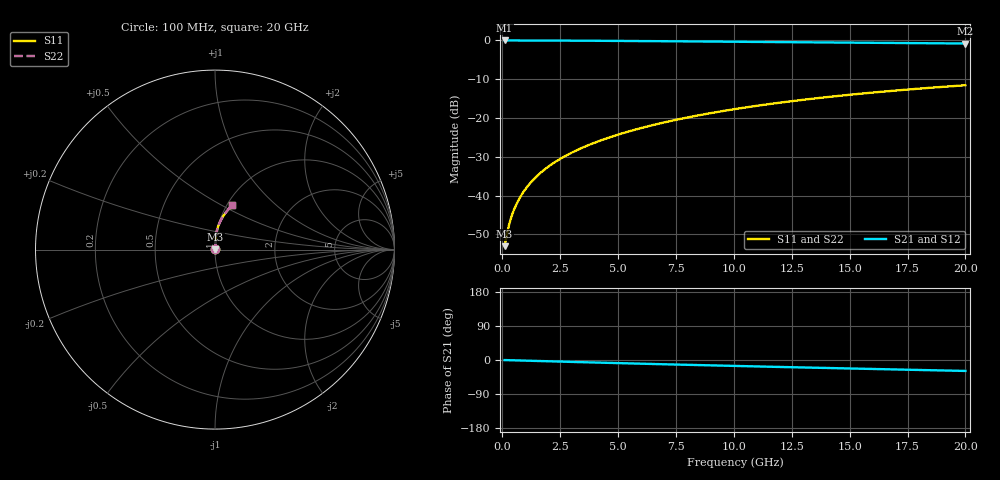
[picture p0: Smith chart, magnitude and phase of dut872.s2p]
! Touchstone file exported from HFSS 2024.1.0
!  File:  C:/UserFiles/LocalFiles/RDL_TSV_Batchsim/temp_RDL_top_872_1779856479.aedt
!  Generated:  12:36:30 PM May 27, 2026
!  Design:  RDL_top
!  Project:  temp_RDL_top_872_1779856479
!  Setup:  Setup1
!  Solution:  Sweep
! Variables:
!  dtsv = 10.80580581um
!  hbump = 3um
!  htsv = 87.6um
!  ldown = 100um
!  lrdl = 411.42um
!  p = 40
!  p1 = 45.75um
!  rhole = 1um
!  t = 450um
!  tdown = 3.915915916um
!  trdl = 4.13um
!  wdown = 15.38538539um
!  wrdl = 21.83um
# GHz S MA R 50.000000
! Terminal data exported
! Port[1] = Box2_T1
! Port[2] = Box2_T2
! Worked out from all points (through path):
!   200 points, 100 MHz to 20 GHz, reference 50 ohm
!   highest |S21| = -0.02 dB at 100 MHz (marker M1); lowest = -0.8 dB at 20 GHz (marker M2)
!   group delay of S21, straight-line fit = 3.97 ps
!   lowest |S11| = -53.0 dB at 100 MHz (marker M3), VSWR 1.00, Z = 50.2 + j0.133 ohm
!   |S11| at or under -10 dB: start of sweep to end of sweep
!   |S22| runs from -53.0 to -11.5 dB; largest |S21 - S12| = 2e-15
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0.1  0.002233 36.3  0.9982 -0.2  0.9982 -0.2  0.002233 36.3
! Gamma 0 0 0 0
! Port Impedance 50 0 50 0
0.2  0.003211 53.9  0.9981 -0.4  0.9981 -0.4  0.003211 53.9
0.3  0.004304 62.4  0.9979 -0.5  0.9979 -0.5  0.004304 62.4
0.4  0.005412 67.3  0.9978 -0.7  0.9978 -0.7  0.005411 67.3
0.5  0.00652 70.7  0.9977 -0.9  0.9977 -0.9  0.006519 70.7
0.6  0.007631 73.1  0.9976 -1.0  0.9976 -1.0  0.00763 73.2
0.8  0.009869 76.6  0.9974 -1.4  0.9974 -1.4  0.009868 76.7
1.1  0.01328 79.9  0.997 -1.9  0.997 -1.9  0.01327 79.9
1.3  0.01558 81.3  0.9967 -2.2  0.9967 -2.2  0.01557 81.3
1.6  0.01906 82.9  0.9962 -2.7  0.9962 -2.7  0.01906 82.9
2.1  0.02495 84.5  0.9951 -3.6  0.9951 -3.6  0.02495 84.5
2.7  0.03215 85.6  0.9936 -4.6  0.9936 -4.6  0.03216 85.6
3.5  0.04198 86.4  0.991 -5.9  0.991 -5.9  0.04198 86.4
4.2  0.05078 86.6  0.9884 -7.0  0.9884 -7.0  0.0508 86.6
5  0.06109 86.6  0.9851 -8.2  0.9851 -8.2  0.06111 86.6
6.8  0.08514 85.6  0.9768 -11.0  0.9768 -11.0  0.08518 85.7
8.4  0.1072 84.2  0.9691 -13.3  0.9691 -13.3  0.1073 84.2
10.1  0.1311 82.2  0.9607 -15.8  0.9607 -15.8  0.1312 82.3
11.7  0.1537 80.1  0.9529 -18.0  0.9529 -18.0  0.1538 80.2
13.4  0.1774 77.8  0.9445 -20.3  0.9445 -20.3  0.1775 77.8
16.7  0.2222 73.1  0.9282 -24.6  0.9282 -24.6  0.2223 73.1
20  0.2644 68.4  0.9118 -28.9  0.9118 -28.9  0.2646 68.4
